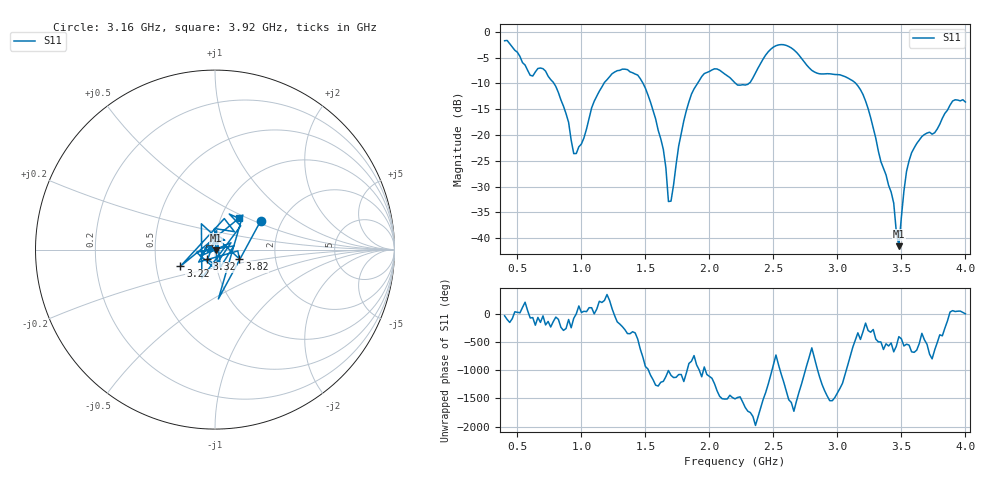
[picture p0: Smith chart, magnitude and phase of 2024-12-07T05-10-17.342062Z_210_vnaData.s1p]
!Created with skrf (http://scikit-rf.org).
# Hz S RI R 50.0
!freq ReS11 ImS11
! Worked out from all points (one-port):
!   181 points, 400 MHz to 4 GHz, reference 50 ohm
!   lowest |S11| = -41.5 dB at 3.48 GHz (marker M1), VSWR 1.02, Z = 50.7 - j0.501 ohm
!   |S11| at or under -10 dB: 785.9 MHz to 1.175 GHz (389.4 MHz wide, 39.7 % of centre); 1.482 GHz to 1.907 GHz (424.8 MHz wide, 25.1 % of centre); 3.144 GHz to end of sweep (the widest 3 of 4)
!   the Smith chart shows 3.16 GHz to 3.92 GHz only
!   S11 on the Smith chart (normalised r, x): 3.16 GHz: 1.56, +0.55; 3.22 GHz: 0.67, -0.13; 3.32 GHz: 0.91, -0.10; 3.82 GHz: 1.31, -0.14; 3.92 GHz: 1.22, +0.45
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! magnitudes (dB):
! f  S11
! 400 MHz  -1.7
! 600 MHz  -8.4
! 720 MHz  -7.6
! 860 MHz  -14.4
! 960 MHz  -23.6
! 1.14 GHz  -11.5
! 1.3 GHz  -7.4
! 1.52 GHz  -12.2
! 1.64 GHz  -22.8
! 1.68 GHz  -32.9
! 1.7 GHz  -32.8
! 1.76 GHz  -22.1
! 1.86 GHz  -12.1
! 1.96 GHz  -8.1
! 2.2 GHz  -9.9
! 2.32 GHz  -9.7
! 2.5 GHz  -2.9
! 2.66 GHz  -3.5
! 3.1 GHz  -9.2
! 3.16 GHz  -10.5
! 3.22 GHz  -13.4
! 3.32 GHz  -23.1
! 3.44 GHz  -33.2
! 3.48 GHz  -41.5
! 3.56 GHz  -25.0
! 3.82 GHz  -16.7
! 3.92 GHz  -13.2
! 4 GHz  -13.6
